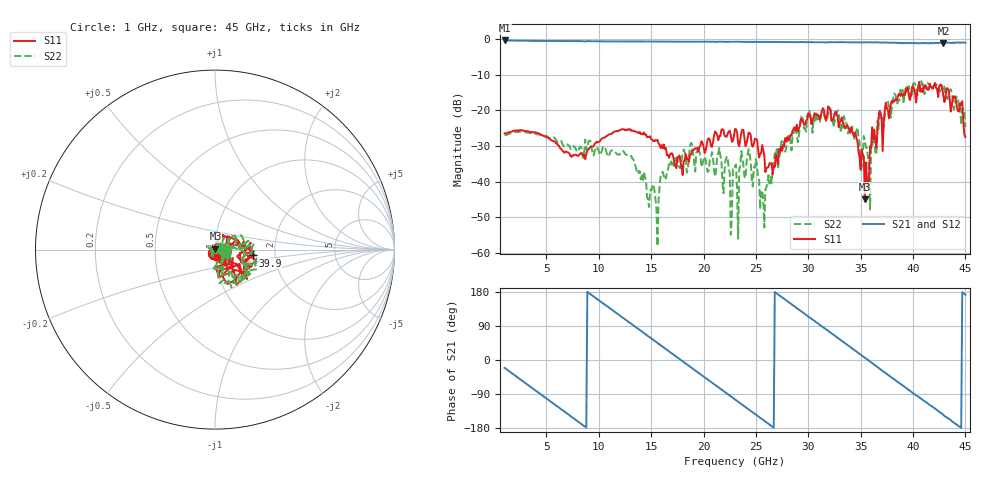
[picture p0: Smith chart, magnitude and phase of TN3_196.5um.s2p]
!Keysight Technologies,N5247B,MY61255062,A.19.80.06
!Date: Monday, May 18, 2026 12:54:35
!Correction: S11(Cdelta 2-Port  )
!S21(Cdelta 2-Port  )
!S12(Cdelta 2-Port  )
!S22(Cdelta 2-Port  )
!S2P File: Measurements: S11, S21, S12, S22:
# Hz S  dB  R 50
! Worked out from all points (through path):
!   441 points, 1 GHz to 45 GHz, reference 50 ohm
!   highest |S21| = -0.41 dB at 1 GHz (marker M1); lowest = -1.2 dB at 42.9 GHz (marker M2)
!   group delay of S21, straight-line fit = 56 ps
!   lowest |S11| = -45.0 dB at 35.4 GHz (marker M3), VSWR 1.01, Z = 50.2 + j0.517 ohm
!   |S11| at or under -10 dB: start of sweep to end of sweep
!   |S22| runs from -58.1 to -11.8 dB; largest |S21 - S12| = 0.033
!   S11 on the Smith chart (normalised r, x): 1 GHz: 1.10, -0.02; 39.9 GHz: 1.53, -0.10; 45 GHz: 1.02, -0.08
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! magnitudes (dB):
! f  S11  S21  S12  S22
! 1 GHz  -26.5  -0.4  -0.4  -26.9
! 8.4 GHz  -32.3  -0.6  -0.6  -31.3
! 12.9 GHz  -25.4  -0.7  -0.7  -32.6
! 15.7 GHz  -29.3  -0.7  -0.7  -45.3
! 16.1 GHz  -30.6  -0.7  -0.7  -37.3
! 18.8 GHz  -32.3  -0.8  -0.8  -29.1
! 22.3 GHz  -26.6  -0.8  -0.8  -33.0
! 22.6 GHz  -27.0  -0.8  -0.8  -54.9
! 23 GHz  -25.2  -0.8  -0.8  -35.6
! 24.3 GHz  -26.3  -0.8  -0.8  -31.0
! 25.6 GHz  -29.7  -0.8  -0.8  -42.4
! 27.5 GHz  -31.4  -0.9  -0.8  -28.1
! 30.4 GHz  -22.8  -0.9  -0.9  -26.3
! 34.3 GHz  -26.8  -0.9  -1.0  -26.8
! 35.4 GHz  -45.0  -0.9  -1.0  -28.2
! 35.9 GHz  -30.0  -0.9  -0.9  -47.8
! 36.8 GHz  -20.3  -1.0  -1.0  -19.8
! 37.7 GHz  -22.3  -1.1  -1.1  -19.2
! 39.9 GHz  -13.5  -1.2  -1.2  -15.6
! 42.9 GHz  -16.0  -1.2  -1.1  -13.1
! 44.5 GHz  -18.0  -1.1  -1.0  -19.1
! 45 GHz  -27.5  -1.0  -1.0  -24.7
